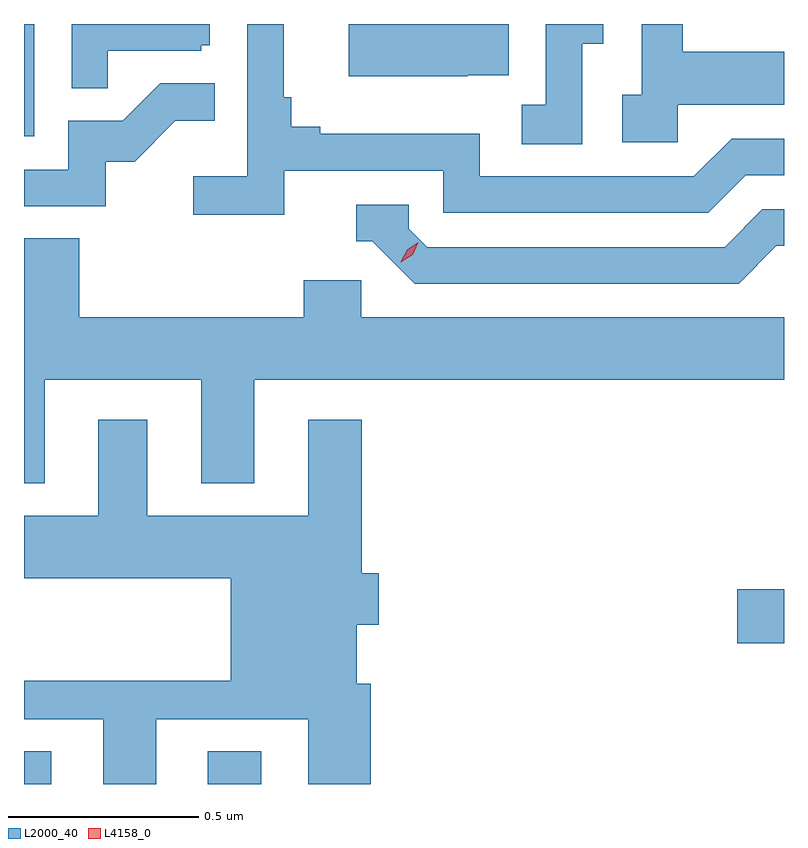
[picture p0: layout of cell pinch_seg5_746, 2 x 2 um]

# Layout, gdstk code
import gdstk
lib = gdstk.Library(unit=1e-6, precision=1e-09)
def R(c, l, rs):  # rectangles x0, y0, x1, y1
    for r in rs: c.add(gdstk.rectangle(r[:2], r[2:], *l))
def P(c, l, *ps):  # polygons
    for p in ps: c.add(gdstk.Polygon(p, *l))
L2000_40 = (2000, 40)
L4158_0 = (4158, 0)

pinch_seg5_746 = lib.new_cell('pinch_seg5_746')
R(pinch_seg5_746, L2000_40, [(868.531,912.972,868.603,913.058), (869.015,912.972,869.155,913.058), (870.408,913.342,870.531,913.484), (868.531,914.676,868.558,914.972)])
P(pinch_seg5_746, L2000_40, [(869.216,914.586),(869.634,914.586),(869.634,914.475),(870.331,914.475),(870.43,914.574),(870.531,914.574),(870.531,914.67),(870.393,914.67),(870.294,914.571),(869.73,914.571),(869.73,914.683),(869.311,914.683),(869.311,914.702),(869.234,914.702),(869.234,914.779),(869.215,914.779),(869.215,914.972),(869.118,914.972),(869.118,914.572),(868.977,914.572),(868.977,914.47),(869.216,914.47)],
  [(870,914.92),(870.055,914.92),(870.055,914.972),(869.904,914.972),(869.904,914.759),(869.841,914.759),(869.841,914.656),(870,914.656)],
  [(870.252,914.759),(870.531,914.759),(870.531,914.899),(870.265,914.899),(870.265,914.972),(870.156,914.972),(870.156,914.786),(870.105,914.786),(870.105,914.661),(870.252,914.661)],
  [(869.699,914.837),(869.807,914.837),(869.807,914.972),(869.385,914.972),(869.385,914.834),(869.699,914.834)],
  [(868.751,914.901),(868.998,914.901),(868.998,914.916),(869.02,914.916),(869.02,914.972),(868.656,914.972),(868.656,914.803),(868.751,914.803)],
  [(868.746,914.61),(868.822,914.61),(868.929,914.717),(869.033,914.717),(869.033,914.816),(868.889,914.816),(868.791,914.718),(868.647,914.718),(868.647,914.589),(868.531,914.589),(868.531,914.493),(868.746,914.493)],
  [(870.511,914.388),(870.531,914.388),(870.531,914.484),(870.474,914.484),(870.375,914.385),(869.592,914.385),(869.544,914.433),(869.544,914.496),(869.405,914.496),(869.405,914.4),(869.448,914.4),(869.559,914.289),(870.412,914.289)],
  [(868.585,914.036),(868.997,914.036),(868.997,913.763),(869.137,913.763),(869.137,914.036),(870.531,914.036),(870.531,914.2),(869.418,914.2),(869.418,914.298),(869.267,914.298),(869.267,914.2),(868.676,914.2),(868.676,914.408),(868.531,914.408),(868.531,913.763),(868.585,913.763)],
  [(868.879,913.143),(869.279,913.143),(869.279,912.972),(869.444,912.972),(869.444,913.236),(869.407,913.236),(869.407,913.391),(869.464,913.391),(869.464,913.526),(869.42,913.526),(869.42,913.93),(869.279,913.93),(869.279,913.678),(868.855,913.678),(868.855,913.93),(868.727,913.93),(868.727,913.678),(868.531,913.678),(868.531,913.514),(869.075,913.514),(869.075,913.244),(868.531,913.244),(868.531,913.143),(868.739,913.143),(868.739,912.972),(868.879,912.972)])
P(pinch_seg5_746, L4158_0, [(869.523,914.345),(869.523,914.346),(869.539,914.378),(869.569,914.398),(869.569,914.398),(869.569,914.398),(869.554,914.365),(869.523,914.345)])

lib.write_gds('pinch_seg5_746.gds')
